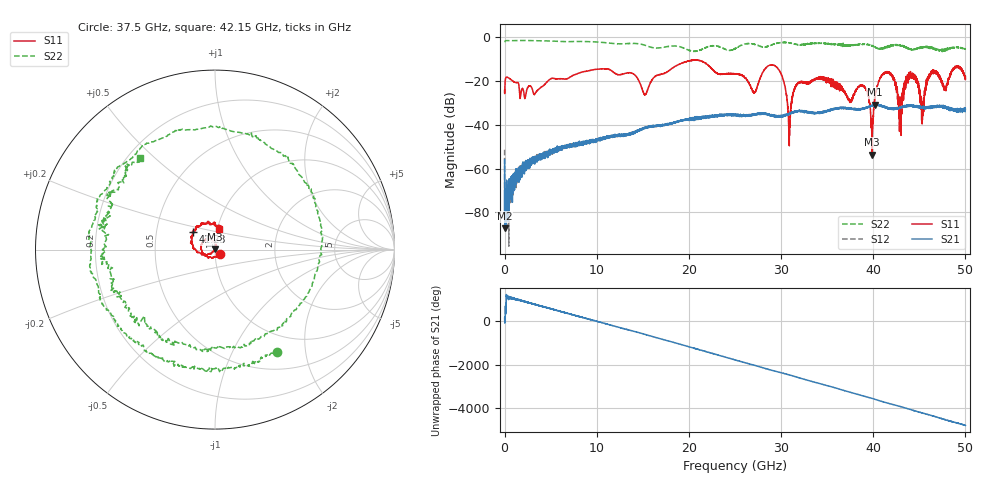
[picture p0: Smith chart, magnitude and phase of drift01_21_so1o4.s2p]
!Created with skrf (http://scikit-rf.org).
# Hz S RI R 50.0
!freq ReS11 ImS11 ReS21 ImS21 ReS12 ImS12 ReS22 ImS22
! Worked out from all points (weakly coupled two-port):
!   10001 points, 300 kHz to 50 GHz, reference 50 ohm
!   highest |S21| = -30.65 dB at 40.2 GHz (marker M1); lowest = -87.2 dB at 35.3 MHz (marker M2)
!   lowest |S11| = -53.5 dB at 39.87 GHz (marker M3), VSWR 1.00, Z = 49.8 + j0.0683 ohm
!   |S11| at or under -10 dB: start of sweep to end of sweep
!   |S22| runs from -6.5 to -1.4 dB; largest |S21 - S12| = 0.004
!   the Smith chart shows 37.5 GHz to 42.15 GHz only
!   S11 on the Smith chart (normalised r, x): 37.5 GHz: 1.06, -0.05; 41.23 GHz: 0.77, +0.16; 42.15 GHz: 1.02, +0.23
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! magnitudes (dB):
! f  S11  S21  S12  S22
! 300 kHz  -23.9  -55.7  -51.3  -2.1
! 35.3 MHz  -21.9  -87.2  -78.6  -1.7
! 260.3 MHz  -18.1  -77.4  -77.6  -1.4
! 2.3 GHz  -26.0  -60.9  -58.9  -1.4
! 8.335 GHz  -15.9  -48.0  -48.7  -1.8
! 16.67 GHz  -17.1  -40.3  -40.3  -4.8
! 25 GHz  -16.6  -35.3  -35.5  -5.1
! 29.42 GHz  -13.2  -35.9  -35.9  -2.7
! 30.9 GHz  -42.1  -34.8  -35.0  -2.5
! 33.34 GHz  -19.8  -34.5  -34.4  -2.7
! 37.5 GHz  -28.8  -32.3  -32.5  -3.5
! 38.95 GHz  -22.3  -32.4  -32.5  -3.1
! 39.87 GHz  -53.5  -31.1  -31.1  -3.8
! 40.2 GHz  -27.0  -30.7  -30.9  -4.5
! 41.23 GHz  -16.1  -31.7  -32.0  -4.4
! 41.67 GHz  -16.2  -32.3  -32.4  -4.2
! 42.15 GHz  -18.7  -32.6  -32.4  -3.6
! 42.92 GHz  -35.5  -32.2  -32.1  -3.6
! 44.06 GHz  -17.4  -31.5  -31.4  -5.3
! 45.31 GHz  -39.5  -32.3  -32.0  -4.4
! 46.41 GHz  -15.1  -31.6  -31.7  -4.6
! 50 GHz  -17.9  -32.8  -32.9  -5.4
